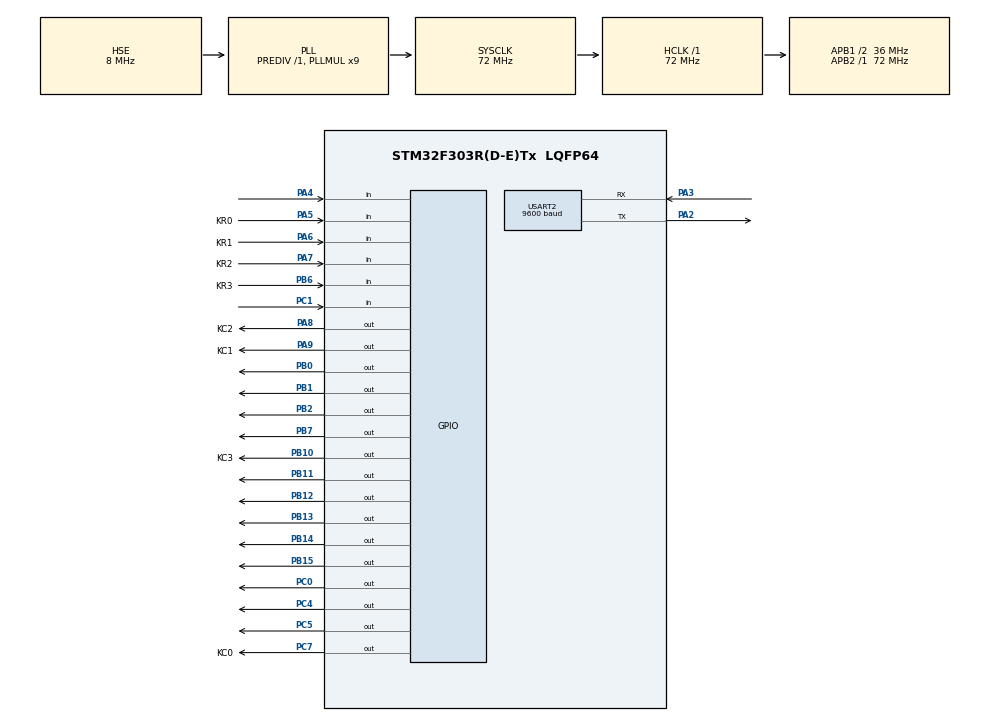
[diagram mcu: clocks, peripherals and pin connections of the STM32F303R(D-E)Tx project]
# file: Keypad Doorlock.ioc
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Mcu.Family=STM32F3
Mcu.Name=STM32F303R(D-E)Tx
Mcu.Package=LQFP64
NVIC.PriorityGroup=NVIC_PRIORITYGROUP_4
PA13.Mode=Serial_Wire
PA13.Signal=SYS_JTMS-SWDIO
PA14.Mode=Serial_Wire
PA14.Signal=SYS_JTCK-SWCLK
PA2.Mode=Asynchronous
PA2.Signal=USART2_TX
PA3.Mode=Asynchronous
PA3.Signal=USART2_RX
PA4.Signal=GPIO_Input
PA5.GPIO_Label=KR0
PA5.GPIO_PuPd=GPIO_PULLDOWN
PA5.Signal=GPIO_Input
PA6.GPIO_Label=KR1
PA6.GPIO_PuPd=GPIO_PULLDOWN
PA6.Signal=GPIO_Input
PA7.GPIO_Label=KR2
PA7.GPIO_PuPd=GPIO_PULLDOWN
PA7.Signal=GPIO_Input
PA8.GPIO_Label=KC2
PA8.Signal=GPIO_Output
PA9.GPIO_Label=KC1
PA9.Signal=GPIO_Output
PB0.Signal=GPIO_Output
PB1.Signal=GPIO_Output
PB10.GPIO_Label=KC3
PB10.Signal=GPIO_Output
PB11.Signal=GPIO_Output
PB12.Signal=GPIO_Output
PB13.Signal=GPIO_Output
PB14.Signal=GPIO_Output
PB15.Signal=GPIO_Output
PB2.Signal=GPIO_Output
PB6.GPIO_Label=KR3
PB6.GPIO_PuPd=GPIO_PULLDOWN
PB6.Signal=GPIO_Input
PB7.Signal=GPIO_Output
PC0.Signal=GPIO_Output
PC1.GPIO_PuPd=GPIO_PULLDOWN
PC1.Signal=GPIO_Input
PC14-OSC32_IN.Mode=LSE-External-Oscillator
PC14-OSC32_IN.Signal=RCC_OSC32_IN
PC15-OSC32_OUT.Mode=LSE-External-Oscillator
PC15-OSC32_OUT.Signal=RCC_OSC32_OUT
PC4.Signal=GPIO_Output
PC5.Signal=GPIO_Output
PC7.GPIO_Label=KC0
PC7.Signal=GPIO_Output
PF0-OSC_IN.Mode=HSE-External-Oscillator
PF0-OSC_IN.Signal=RCC_OSC_IN
PF1-OSC_OUT.Mode=HSE-External-Oscillator
PF1-OSC_OUT.Signal=RCC_OSC_OUT
ProjectManager.HeapSize=0x200
ProjectManager.StackSize=0x400
ProjectManager.TargetToolchain=STM32CubeIDE
RCC.AHBFreq_Value=72000000
RCC.APB1CLKDivider=RCC_HCLK_DIV2
RCC.APB1Freq_Value=36000000
RCC.APB1TimFreq_Value=72000000
RCC.APB2Freq_Value=72000000
RCC.APB2TimFreq_Value=72000000
RCC.CortexFreq_Value=72000000
RCC.HCLKFreq_Value=72000000
RCC.HSE_VALUE=8000000
RCC.HSI_VALUE=8000000
RCC.PLLMUL=RCC_PLL_MUL9
RCC.PLLSourceVirtual=RCC_PLLSOURCE_HSE
RCC.SYSCLKFreq_VALUE=72000000
RCC.SYSCLKSourceVirtual=RCC_SYSCLKSOURCE_PLLCLK
RCC.USBFreq_Value=72000000
TIM1.Period=0xffff-1
TIM1.Prescaler=72-1
USART2.BaudRate=9600
USART2.VirtualMode-Asynchronous=VM_ASYNC
VP_TIM1_VS_ClockSourceINT.Mode=Internal
board=custom

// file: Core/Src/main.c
/* USER CODE BEGIN Header */
/**
  ******************************************************************************
  * @file           : main.c
  * @brief          : Main program body
  ******************************************************************************
  * @attention
  *
  * Copyright (c) 2023 STMicroelectronics.
  * All rights reserved.
  *
  * This software is licensed under terms that can be found in the LICENSE file
  * in the root directory of this software component.
  * If no LICENSE file comes with this software, it is provided AS-IS.
  *
  ******************************************************************************
  */
/* USER CODE END Header */
#include "main.h"

/* USER CODE BEGIN Includes */
#include "LCD2004.h"
#include "Keypad4X4.h"
#include<stdio.h>
#include<stdlib.h>
#include<string.h>
/* USER CODE END Includes */

TIM_HandleTypeDef htim1;

UART_HandleTypeDef huart2;

/* USER CODE BEGIN PV */
extern char key;
char user[]="00000";
char pass[]="12345";
int i=0;
int trail=0;
int lockdown=0;
int mul=0;
/* USER CODE END PV */

void SystemClock_Config(void);
static void MX_GPIO_Init(void);
static void MX_TIM1_Init(void);
static void MX_USART2_UART_Init(void);

/* USER CODE BEGIN 0 */
char* intTostr(int num)
{
    char* str=(char*)malloc(3*sizeof(char));
    if (num>99)
        {
            char i1=48+((num%100)%10);
            char i2=48+((num%100)/10);
            char i3=48+(num/100);
            str[0]=i3;
            str[1]=i2;
            str[2]=i1;
            str[3]='\0';
        }
        else if (num>9)
        {
            char i1=48+(num%10);
            char i2=48+(num/10);
            str[0]=i2;
            str[1]=i1;
            str[2]='\0';
        }
        else
        {
            char i=48+num;
            str[0]=i;
            str[1]='\0';
        }
    return str;
}

/* USER CODE END 0 */

int main(void)
{

  /* MCU Configuration--------------------------------------------------------*/

  /* Reset of all peripherals, Initializes the Flash interface and the Systick. */
  HAL_Init();

  /* Configure the system clock */
  SystemClock_Config();

  /* Initialize all configured peripherals */
  MX_GPIO_Init();
  MX_TIM1_Init();
  MX_USART2_UART_Init();
  /* USER CODE BEGIN 2 */
  HAL_TIM_Base_Start(&htim1);
  HAL_GPIO_WritePin(GPIOA,GPIO_PIN_4,0);
  memset(user, '\0', sizeof(user));
  lcd_init();
  lcd_put_cur(0,0);
  lcd_send_string("Enter Pin");
  /* USER CODE END 2 */

  /* Infinite loop */
  while (1)
  {

    /* USER CODE BEGIN 3 */
key=Get_Key();
HAL_Delay(250);
while(key!='D')
{
	if (key!='*'){
	user[i]=key;
	lcd_put_cur(1,i);
	lcd_send_string(&key);
	key=Get_Key();
	HAL_Delay(250);
	}
	if(key=='*')
	{
		lcd_put_cur(1,i);
		lcd_send_string(" ");
		user[i]='\0';
		key=Get_Key();
		HAL_Delay(250);
		i-=1;
	}
	if (key!='*')
	i+=1;
}
if (HAL_GPIO_ReadPin(GPIOA,GPIO_PIN_4)==0)
{
	if (!strcmp(user,pass))
	{
		lcd_clear();
		lcd_put_cur(0,0);
		lcd_send_string("Welcome");
		HAL_GPIO_WritePin(GPIOC,GPIO_PIN_4,1);
		HAL_Delay(3000);
		HAL_GPIO_WritePin(GPIOC,GPIO_PIN_4,0);
		key=Get_Key();
		while (key!='D')
			key=Get_Key();
		if (key=='D')
		{
			lcd_clear();
			lcd_put_cur(0,0);
			lcd_send_string("Enter PIN");
			lcd_put_cur(0,0);
			memset(user, '\0', sizeof(user));
			i=0;
			trail=0;
			lockdown=0;
		}
	}
	else
	{
		trail+=1;
		if(trail<3)
		{
			HAL_GPIO_WritePin(GPIOB,GPIO_PIN_0,1);
			lcd_clear();
			lcd_put_cur(0,0);
			lcd_send_string("Incorrect Pin");
			lcd_put_cur(1,0);
			lcd_send_string("Try Again");
			HAL_GPIO_WritePin(GPIOC,GPIO_PIN_5,1);
			HAL_Delay(500);
			HAL_GPIO_WritePin(GPIOB,GPIO_PIN_0,0);
			HAL_GPIO_WritePin(GPIOC,GPIO_PIN_5,0);
			lcd_clear();
			lcd_put_cur(0,0);
			lcd_send_string("Enter PIN");
			lcd_put_cur(0,0);
			memset(user, '\0', sizeof(user));
			i=0;
		}
		else
		{
			HAL_GPIO_WritePin(GPIOC,GPIO_PIN_5,1);
			lockdown+=1;
			if (lockdown<3){
			lcd_clear();
			lcd_put_cur(0,0);
			lcd_send_string("Try Again After:");
			HAL_GPIO_WritePin(GPIOB,GPIO_PIN_0,1);
			HAL_Delay(500);
			HAL_GPIO_WritePin(GPIOB,GPIO_PIN_0,0);
			HAL_Delay(500);
			HAL_GPIO_WritePin(GPIOB,GPIO_PIN_0,1);
			HAL_Delay(500);
			HAL_GPIO_WritePin(GPIOB,GPIO_PIN_0,0);
			HAL_Delay(500);

			for (int j=10*(lockdown);j>0;j--)
			{
				lcd_put_cur(1,0);
				lcd_send_string(intTostr(j));
				if(j>9)
				lcd_put_cur(1,2);
				else
				lcd_put_cur(1,1);
				lcd_send_string(" Seconds ");
				HAL_Delay(1000);
			}
			HAL_GPIO_WritePin(GPIOC,GPIO_PIN_5,0);
			lcd_clear();
			lcd_put_cur(0,0);
			lcd_send_string("Enter PIN");
			lcd_put_cur(0,0);
			memset(user, '\0', sizeof(user));
			i=0;
			trail=0;
			}
			else
			{
				lcd_clear();
				lcd_put_cur(0,0);
				lcd_send_string("Entered");
				lcd_put_cur(1,0);
				lcd_send_string("Too Many Wrong Pins");
				HAL_GPIO_WritePin(GPIOB,GPIO_PIN_0,1);
				HAL_Delay(500);
				HAL_GPIO_WritePin(GPIOB,GPIO_PIN_0,0);
				HAL_Delay(500);
				HAL_GPIO_WritePin(GPIOB,GPIO_PIN_0,1);
				HAL_Delay(500);
				HAL_GPIO_WritePin(GPIOB,GPIO_PIN_0,0);
				HAL_Delay(500);
				HAL_GPIO_WritePin(GPIOB,GPIO_PIN_0,1);
				HAL_Delay(500);
				HAL_GPIO_WritePin(GPIOB,GPIO_PIN_0,0);
				HAL_Delay(500);
				HAL_Delay(2000);
				lcd_clear();
				lcd_put_cur(0,0);
				lcd_send_string("Entering");
				lcd_put_cur(1,0);
				lcd_send_string("Lockdown Mode");
				lcd_put_cur(2,0);
				lcd_send_string("Reset from Mobile");
				HAL_Delay(2000);
				while(HAL_GPIO_ReadPin(GPIOA,GPIO_PIN_4)!=1)
				{
					lcd_clear();
					lcd_put_cur(0,0);
					lcd_send_string("Lockdown Mode Since");
					HAL_GPIO_WritePin(GPIOC,GPIO_PIN_4,1);
					HAL_GPIO_WritePin(GPIOC,GPIO_PIN_5,1);
					for (int j=0;;j++)
					{
						if (HAL_GPIO_ReadPin(GPIOA,GPIO_PIN_4)==1)
							break;
						lcd_put_cur(1,0);
						if (j!=60)
						{
							lcd_send_string(intTostr(j));
							if(j>99)
							lcd_put_cur(1,3);
							else if(j>9)
							lcd_put_cur(1,2);
							else
							lcd_put_cur(1,1);
						}
						lcd_send_string(" Seconds ");
						if (j==60)
						{
							j=0;
							mul+=1;
							lcd_put_cur(2,0);
							lcd_send_string(intTostr(mul));
							if(mul>99)
							lcd_put_cur(2,3);
							else if(mul>9)
							lcd_put_cur(2,2);
							else
							lcd_put_cur(2,1);
							lcd_send_string(" Minutes");
						}
						if (j==0)
						{
							lcd_put_cur(1,0);
							lcd_send_string("0 Seconds ");
						}
						if (mul==0)
						{
							lcd_put_cur(2,0);
							lcd_send_string("0 Minutes");
						}

						HAL_Delay(1000);
						lcd_put_cur(3,0);
						lcd_send_string("Reset from Mobile");
					}

				}
				HAL_GPIO_WritePin(GPIOC,GPIO_PIN_4,0);
				HAL_GPIO_WritePin(GPIOC,GPIO_PIN_5,0);
				lcd_clear();
				lcd_put_cur(0,0);
				lcd_send_string("Enter PIN");
				lcd_put_cur(0,0);
				memset(user, '\0', sizeof(user));
				i=0;
				trail=0;
				lockdown=0;
				mul=0;
			}
		}
	}
}
else
{
	lcd_clear();
	lcd_put_cur(0,0);
	lcd_send_string("Entering");
	lcd_put_cur(1,0);
	lcd_send_string("Pin RESET Mode");
	lcd_put_cur(2,0);
	lcd_send_string("Please Wait");
	HAL_Delay(1000);
	lcd_clear();
	lcd_put_cur(0,0);
	lcd_send_string("Enter New Pin");
	i=0;
	key=Get_Key();
	HAL_Delay(250);
	memset(pass, '\0', sizeof(pass));
	while(i<5)
	{
		pass[i]=key;
		lcd_put_cur(1,i);
		lcd_send_string(&key);
		i+=1;
		key=Get_Key();
		HAL_Delay(250);
	}
	lcd_clear();
	lcd_put_cur(0,0);
	lcd_send_string("Enter PIN");
	lcd_put_cur(0,0);
	memset(user, '\0', sizeof(user));
	i=0;
	trail=0;
	lockdown=0;
}
  }
  /* USER CODE END 3 */
}

void SystemClock_Config(void)
{
  RCC_OscInitTypeDef RCC_OscInitStruct = {0};
  RCC_ClkInitTypeDef RCC_ClkInitStruct = {0};
  RCC_PeriphCLKInitTypeDef PeriphClkInit = {0};

  /** Initializes the RCC Oscillators according to the specified parameters
  * in the RCC_OscInitTypeDef structure.
  */
  RCC_OscInitStruct.OscillatorType = RCC_OSCILLATORTYPE_HSE;
  RCC_OscInitStruct.HSEState = RCC_HSE_ON;
  RCC_OscInitStruct.HSIState = RCC_HSI_ON;
  RCC_OscInitStruct.PLL.PLLState = RCC_PLL_ON;
  RCC_OscInitStruct.PLL.PLLSource = RCC_PLLSOURCE_HSE;
  RCC_OscInitStruct.PLL.PLLMUL = RCC_PLL_MUL9;
  RCC_OscInitStruct.PLL.PREDIV = RCC_PREDIV_DIV1;
  if (HAL_RCC_OscConfig(&RCC_OscInitStruct) != HAL_OK)
  {
    Error_Handler();
  }

  /** Initializes the CPU, AHB and APB buses clocks
  */
  RCC_ClkInitStruct.ClockType = RCC_CLOCKTYPE_HCLK|RCC_CLOCKTYPE_SYSCLK
                              |RCC_CLOCKTYPE_PCLK1|RCC_CLOCKTYPE_PCLK2;
  RCC_ClkInitStruct.SYSCLKSource = RCC_SYSCLKSOURCE_PLLCLK;
  RCC_ClkInitStruct.AHBCLKDivider = RCC_SYSCLK_DIV1;
  RCC_ClkInitStruct.APB1CLKDivider = RCC_HCLK_DIV2;
  RCC_ClkInitStruct.APB2CLKDivider = RCC_HCLK_DIV1;

  if (HAL_RCC_ClockConfig(&RCC_ClkInitStruct, FLASH_LATENCY_2) != HAL_OK)
  {
    Error_Handler();
  }
  PeriphClkInit.PeriphClockSelection = RCC_PERIPHCLK_USART2|RCC_PERIPHCLK_TIM1;
  PeriphClkInit.Usart2ClockSelection = RCC_USART2CLKSOURCE_PCLK1;
  PeriphClkInit.Tim1ClockSelection = RCC_TIM1CLK_HCLK;
  if (HAL_RCCEx_PeriphCLKConfig(&PeriphClkInit) != HAL_OK)
  {
    Error_Handler();
  }
}

static void MX_TIM1_Init(void)
{

  TIM_ClockConfigTypeDef sClockSourceConfig = {0};
  TIM_MasterConfigTypeDef sMasterConfig = {0};

  htim1.Instance = TIM1;
  htim1.Init.Prescaler = 72-1;
  htim1.Init.CounterMode = TIM_COUNTERMODE_UP;
  htim1.Init.Period = 0xffff-1;
  htim1.Init.ClockDivision = TIM_CLOCKDIVISION_DIV1;
  htim1.Init.RepetitionCounter = 0;
  htim1.Init.AutoReloadPreload = TIM_AUTORELOAD_PRELOAD_DISABLE;
  if (HAL_TIM_Base_Init(&htim1) != HAL_OK)
  {
    Error_Handler();
  }
  sClockSourceConfig.ClockSource = TIM_CLOCKSOURCE_INTERNAL;
  if (HAL_TIM_ConfigClockSource(&htim1, &sClockSourceConfig) != HAL_OK)
  {
    Error_Handler();
  }
  sMasterConfig.MasterOutputTrigger = TIM_TRGO_RESET;
  sMasterConfig.MasterOutputTrigger2 = TIM_TRGO2_RESET;
  sMasterConfig.MasterSlaveMode = TIM_MASTERSLAVEMODE_DISABLE;
  if (HAL_TIMEx_MasterConfigSynchronization(&htim1, &sMasterConfig) != HAL_OK)
  {
    Error_Handler();
  }

}

static void MX_USART2_UART_Init(void)
{

  huart2.Instance = USART2;
  huart2.Init.BaudRate = 9600;
  huart2.Init.WordLength = UART_WORDLENGTH_8B;
  huart2.Init.StopBits = UART_STOPBITS_1;
  huart2.Init.Parity = UART_PARITY_NONE;
  huart2.Init.Mode = UART_MODE_TX_RX;
  huart2.Init.HwFlowCtl = UART_HWCONTROL_NONE;
  huart2.Init.OverSampling = UART_OVERSAMPLING_16;
  huart2.Init.OneBitSampling = UART_ONE_BIT_SAMPLE_DISABLE;
  huart2.AdvancedInit.AdvFeatureInit = UART_ADVFEATURE_NO_INIT;
  if (HAL_UART_Init(&huart2) != HAL_OK)
  {
    Error_Handler();
  }

}

static void MX_GPIO_Init(void)
{
  GPIO_InitTypeDef GPIO_InitStruct = {0};

  /* GPIO Ports Clock Enable */
  __HAL_RCC_GPIOC_CLK_ENABLE();
  __HAL_RCC_GPIOF_CLK_ENABLE();
  __HAL_RCC_GPIOA_CLK_ENABLE();
  __HAL_RCC_GPIOB_CLK_ENABLE();

  /*Configure GPIO pin Output Level */
  HAL_GPIO_WritePin(GPIOC, GPIO_PIN_0|GPIO_PIN_4|GPIO_PIN_5|KC0_Pin, GPIO_PIN_RESET);

  /*Configure GPIO pin Output Level */
  HAL_GPIO_WritePin(GPIOB, GPIO_PIN_0|GPIO_PIN_1|GPIO_PIN_2|KC3_Pin
                          |GPIO_PIN_11|GPIO_PIN_12|GPIO_PIN_13|GPIO_PIN_14
                          |GPIO_PIN_15|GPIO_PIN_7, GPIO_PIN_RESET);

  /*Configure GPIO pin Output Level */
  HAL_GPIO_WritePin(GPIOA, KC2_Pin|KC1_Pin, GPIO_PIN_RESET);

  /*Configure GPIO pins : PC0 PC4 PC5 KC0_Pin */
  GPIO_InitStruct.Pin = GPIO_PIN_0|GPIO_PIN_4|GPIO_PIN_5|KC0_Pin;
  GPIO_InitStruct.Mode = GPIO_MODE_OUTPUT_PP;
  GPIO_InitStruct.Pull = GPIO_NOPULL;
  GPIO_InitStruct.Speed = GPIO_SPEED_FREQ_LOW;
  HAL_GPIO_Init(GPIOC, &GPIO_InitStruct);

  /*Configure GPIO pin : PC1 */
  GPIO_InitStruct.Pin = GPIO_PIN_1;
  GPIO_InitStruct.Mode = GPIO_MODE_INPUT;
  GPIO_InitStruct.Pull = GPIO_PULLDOWN;
  HAL_GPIO_Init(GPIOC, &GPIO_InitStruct);

  /*Configure GPIO pin : PA4 */
  GPIO_InitStruct.Pin = GPIO_PIN_4;
  GPIO_InitStruct.Mode = GPIO_MODE_INPUT;
  GPIO_InitStruct.Pull = GPIO_NOPULL;
  HAL_GPIO_Init(GPIOA, &GPIO_InitStruct);

  /*Configure GPIO pins : KR0_Pin KR1_Pin KR2_Pin */
  GPIO_InitStruct.Pin = KR0_Pin|KR1_Pin|KR2_Pin;
  GPIO_InitStruct.Mode = GPIO_MODE_INPUT;
  GPIO_InitStruct.Pull = GPIO_PULLDOWN;
  HAL_GPIO_Init(GPIOA, &GPIO_InitStruct);

  /*Configure GPIO pins : PB0 PB1 PB2 KC3_Pin
                           PB11 PB12 PB13 PB14
                           PB15 PB7 */
  GPIO_InitStruct.Pin = GPIO_PIN_0|GPIO_PIN_1|GPIO_PIN_2|KC3_Pin
                          |GPIO_PIN_11|GPIO_PIN_12|GPIO_PIN_13|GPIO_PIN_14
                          |GPIO_PIN_15|GPIO_PIN_7;
  GPIO_InitStruct.Mode = GPIO_MODE_OUTPUT_PP;
  GPIO_InitStruct.Pull = GPIO_NOPULL;
  GPIO_InitStruct.Speed = GPIO_SPEED_FREQ_LOW;
  HAL_GPIO_Init(GPIOB, &GPIO_InitStruct);

  /*Configure GPIO pins : KC2_Pin KC1_Pin */
  GPIO_InitStruct.Pin = KC2_Pin|KC1_Pin;
  GPIO_InitStruct.Mode = GPIO_MODE_OUTPUT_PP;
  GPIO_InitStruct.Pull = GPIO_NOPULL;
  GPIO_InitStruct.Speed = GPIO_SPEED_FREQ_LOW;
  HAL_GPIO_Init(GPIOA, &GPIO_InitStruct);

  /*Configure GPIO pin : KR3_Pin */
  GPIO_InitStruct.Pin = KR3_Pin;
  GPIO_InitStruct.Mode = GPIO_MODE_INPUT;
  GPIO_InitStruct.Pull = GPIO_PULLDOWN;
  HAL_GPIO_Init(KR3_GPIO_Port, &GPIO_InitStruct);

}

void Error_Handler(void)
{
  __disable_irq();
  while (1)
  {
  }
}
